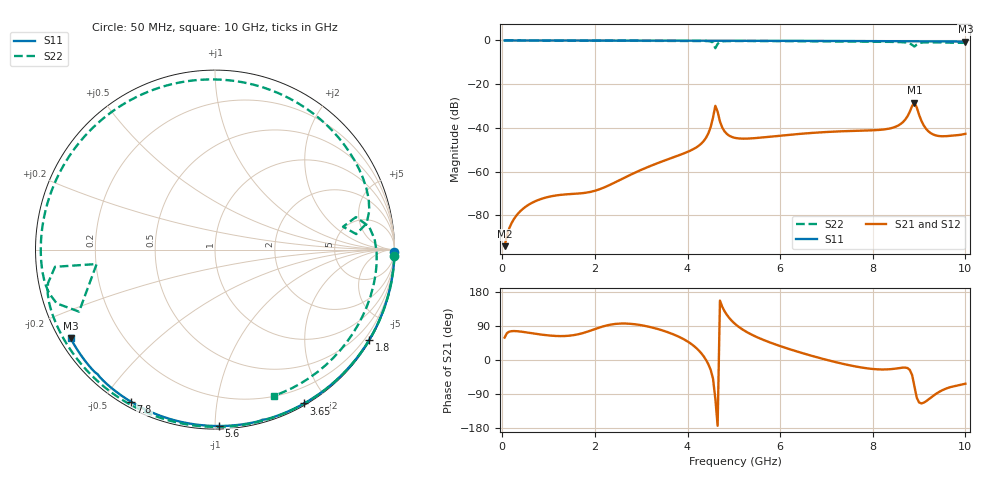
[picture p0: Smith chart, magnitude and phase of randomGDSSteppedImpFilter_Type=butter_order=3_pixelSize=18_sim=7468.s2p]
! freq	dB(S11)	phase(S11)	dB(S12)	phase(S12)
!  dB(S21)	phase(S21)	dB(S22)	phase(S22)
!S-par simulation data
#  GHz  S  DB  R 50
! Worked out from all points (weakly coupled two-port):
!   200 points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, 50 MHz to 10 GHz, reference 50 ohm
!   highest |S21| = -28.52 dB at 8.9 GHz (marker M1); lowest = -94.2 dB at 50 MHz (marker M2)
!   lowest |S11| = -0.5 dB at 10 GHz (marker M3), VSWR 34.69, Z = 1.56 - j14.1 ohm
!   |S11| at or under -10 dB: nowhere
!   |S22| runs from -3.6 to 0.0 dB; largest |S21 - S12| = 0
!   S11 on the Smith chart (normalised r, x): 50 MHz: open; 1.8 GHz: 0.03, -3.69; 3.65 GHz: 0.02, -1.74; 5.6 GHz: 0.02, -1.02; 7.8 GHz: 0.02, -0.59; 10 GHz: 0.03, -0.28
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0.05  -0.00 -0.9  -94.19 59.2  -94.19 59.2  -0.00 -2.1
0.3  -0.00 -5.1  -80.29 76.2  -80.29 76.2  -0.01 -12.7
0.9  -0.02 -15.3  -72.16 66.2  -72.16 66.2  -0.04 -37.6
1.75  -0.04 -29.5  -69.87 71.4  -69.87 71.4  -0.09 -70.9
1.8  -0.04 -30.3  -69.73 73.2  -69.73 73.2  -0.09 -72.7
3.4  -0.07 -56.0  -55.80 80.3  -55.80 80.3  -0.15 -128.3
3.65  -0.08 -59.9  -53.84 69.8  -53.84 69.8  -0.16 -136.5
4.35  -0.10 -70.6  -46.02 9.4  -46.02 9.4  -0.24 -160.5
4.55  -0.12 -73.6  -35.31 -48.9  -35.31 -48.9  -0.95 -173.9
4.6  -0.14 -74.3  -29.93 -102.1  -29.93 -102.1  -3.55 -173.0
4.65  -0.13 -74.9  -32.63 -173.5  -32.63 -173.5  -1.59 -155.5
4.8  -0.12 -77.2  -41.65 128.6  -41.65 128.6  -0.32 -167.9
5.05  -0.13 -80.8  -44.71 92.8  -44.71 92.8  -0.26 -178.0
5.6  -0.15 -88.7  -44.45 55.0  -44.45 55.0  -0.28 163.2
6.7  -0.20 -104.1  -42.32 10.4  -42.32 10.4  -0.37 123.2
7.8  -0.28 -118.9  -41.28 -20.7  -41.28 -20.7  -0.51 73.3
8.35  -0.32 -126.2  -40.38 -24.5  -40.38 -24.5  -0.64 42.2
8.65  -0.36 -130.2  -37.42 -20.1  -37.42 -20.1  -0.82 22.2
8.9  -0.41 -133.3  -28.52 -69.9  -28.52 -69.9  -2.80 10.2
9.1  -0.39 -136.0  -38.87 -112.7  -38.87 -112.7  -0.91 -0.7
9.25  -0.41 -138.0  -42.42 -99.6  -42.42 -99.6  -0.86 -12.7
10  -0.50 -148.5  -42.76 -62.6  -42.76 -62.6  -1.12 -68.2
